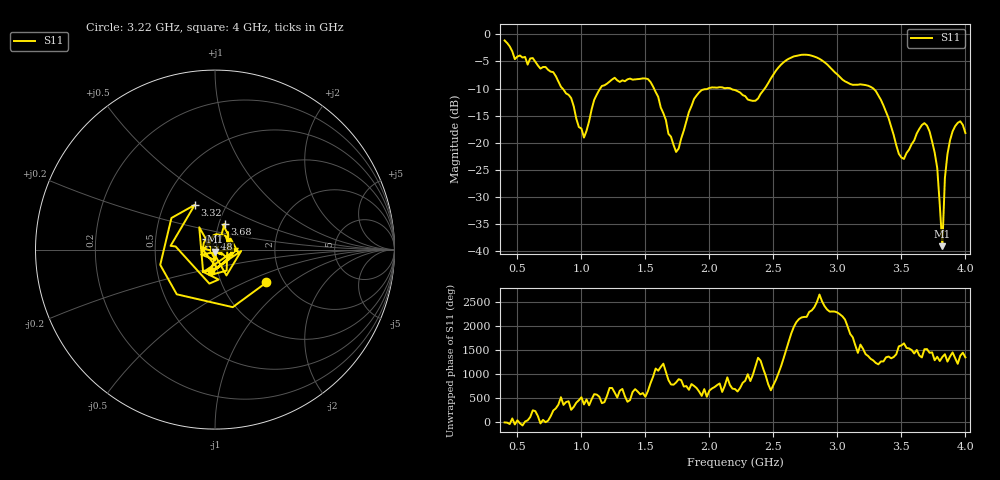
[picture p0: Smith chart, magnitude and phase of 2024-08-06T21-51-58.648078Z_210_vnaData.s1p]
!Created with skrf (http://scikit-rf.org).
# Hz S RI R 50.0
!freq ReS11 ImS11
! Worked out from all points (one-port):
!   181 points, 400 MHz to 4 GHz, reference 50 ohm
!   lowest |S11| = -39.1 dB at 3.82 GHz (marker M1), VSWR 1.02, Z = 49.9 - j1.11 ohm
!   |S11| at or under -10 dB: 852.6 MHz to 1.147 GHz (294.4 MHz wide, 29.4 % of centre); 1.567 GHz to 1.991 GHz (423.6 MHz wide, 23.8 % of centre); 3.281 GHz to end of sweep (the widest 3 of 4)
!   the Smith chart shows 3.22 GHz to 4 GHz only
!   S11 on the Smith chart (normalised r, x): 3.22 GHz: 1.63, -0.68; 3.32 GHz: 0.71, +0.38; 3.48 GHz: 0.90, +0.11; 3.68 GHz: 1.07, +0.31; 4 GHz: 0.93, -0.23
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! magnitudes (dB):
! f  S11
! 400 MHz  -1.1
! 480 MHz  -4.6
! 620 MHz  -4.4
! 860 MHz  -10.2
! 920 MHz  -11.8
! 1.02 GHz  -19.1
! 1.14 GHz  -10.3
! 1.3 GHz  -8.8
! 1.52 GHz  -8.3
! 1.76 GHz  -21.1
! 1.92 GHz  -10.7
! 2.2 GHz  -10.3
! 2.36 GHz  -12.3
! 2.66 GHz  -4.1
! 2.84 GHz  -4.3
! 3.1 GHz  -9.2
! 3.22 GHz  -9.4
! 3.32 GHz  -11.3
! 3.48 GHz  -22.1
! 3.56 GHz  -21.3
! 3.68 GHz  -16.4
! 3.72 GHz  -17.9
! 3.78 GHz  -24.7
! 3.82 GHz  -39.1
! 3.84 GHz  -26.5
! 3.88 GHz  -19.6
! 3.96 GHz  -16.1
! 4 GHz  -18.2
